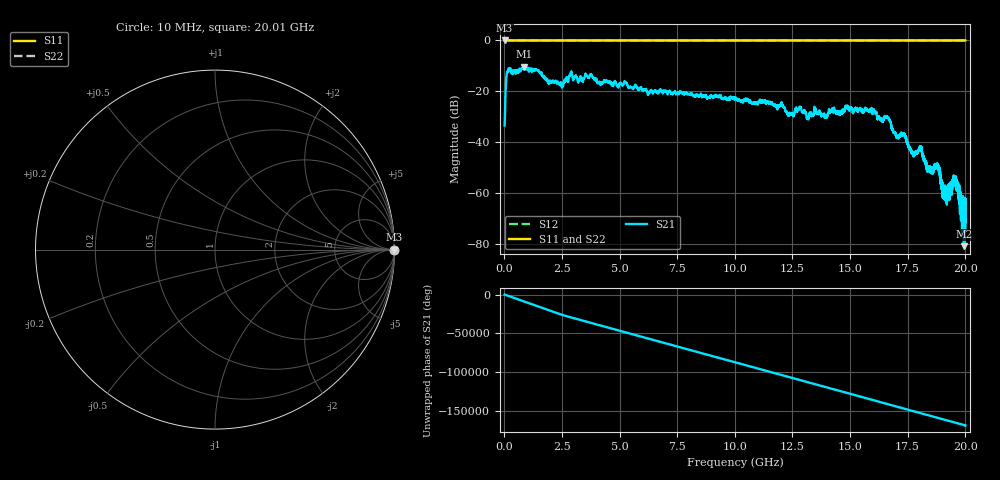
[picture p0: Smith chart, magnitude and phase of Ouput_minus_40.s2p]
! 8/15/2025 12:06:50 PM
! C:\ANRITSUVNA\OUPUT_MINUS_40.S2P
! CHANNEL.1
! TR.MEASUREMENT
! RAW.DATA
! RF.CORRECTION.OFF
! AVERAGING.OFF
! IF.BANDWIDTH: 5KHZ
! SWEEPTYPE:  FREQ.SWEEP(Linear)
! Reference Plane Port Info
! PORT:  PORT1  PORT2
! DISTANCE:  0  m  0  m
! TIME:  0  s  0  s
! PHASE.OFFSET:  0  deg.  0  deg.
! LOSS:  0  dB  0  dB
! REF.LOSS:  0  dB  0  dB
! REF.FREQ:  0  Hz  0  Hz
! Power Info
! POWER:  -20  dBm  -20  dBm
! EFF.POWER:  -20  dBm  -20  dBm
! SOURCE.ATTEN:  0  dB  0  dB
! TEST.ATTEN:  0  dB  0  dB
# GHZ S RI R 50.0
! FREQ.GHZ  S11RE  S11IM  S21RE  S21IM  S12RE  S12IM  S22RE  S22IM
!; PortSelection: Port_12
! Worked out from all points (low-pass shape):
!   20001 points, 10 MHz to 20.01 GHz, reference 50 ohm
!   highest |S21| = -10.27 dB at 866 MHz (marker M1); lowest = -80.7 dB at 19.94 GHz (marker M2)
!   |S21| within 3 dB of the highest: 103.7 MHz to 1.588 GHz (1.484 GHz wide, 175 % of centre); 2.862 GHz to 2.937 GHz (75.08 MHz wide, 2.59 % of centre) (the widest 2 of 4)
!   lowest |S11| = 0.0 dB at 10 MHz (marker M3)
!   |S11| at or under -10 dB: nowhere
!   |S22| runs from 0.0 to 0.0 dB; largest |S21 - S12| = 1.3
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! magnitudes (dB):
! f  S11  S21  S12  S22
! 10 MHz  0.0  -33.3  0.0  0.0
! 125 MHz  0.0  -12.5  0.0  0.0
! 174 MHz  0.0  -11.1  0.0  0.0
! 866 MHz  0.0  -10.3  0.0  0.0
! 2.459 GHz  0.0  -17.0  0.0  0.0
! 2.877 GHz  0.0  -12.7  0.0  0.0
! 3.344 GHz  0.0  -15.7  0.0  0.0
! 6.677 GHz  0.0  -20.3  0.0  0.0
! 10.01 GHz  0.0  -22.7  0.0  0.0
! 13.34 GHz  0.0  -29.7  0.0  0.0
! 14.87 GHz  0.0  -25.8  0.0  0.0
! 16.68 GHz  0.0  -30.9  0.0  0.0
! 16.96 GHz  0.0  -36.7  0.0  0.0
! 17.35 GHz  0.0  -36.8  0.0  0.0
! 17.7 GHz  0.0  -43.8  0.0  0.0
! 18.04 GHz  0.0  -41.8  0.0  0.0
! 18.43 GHz  0.0  -50.4  0.0  0.0
! 18.79 GHz  0.0  -49.0  0.0  0.0
! 19.12 GHz  0.0  -59.6  0.0  0.0
! 19.58 GHz  0.0  -54.5  0.0  0.0
! 19.94 GHz  0.0  -80.7  0.0  0.0
! 20.01 GHz  0.0  -66.7  0.0  0.0
